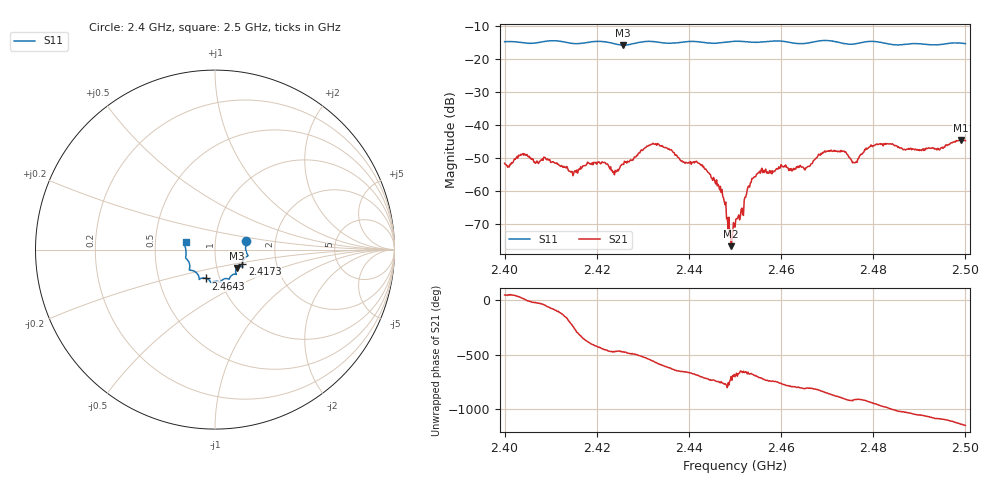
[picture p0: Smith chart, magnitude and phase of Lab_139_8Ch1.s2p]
# Hz S RI R 50
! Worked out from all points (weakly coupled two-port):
!   601 points, 2.4 GHz to 2.5 GHz, reference 50 ohm
!   highest |S21| = -44.58 dB at 2.499 GHz (marker M1); lowest = -76.7 dB at 2.4492 GHz (marker M2)
!   lowest |S11| = -15.9 dB at 2.4257 GHz (marker M3), VSWR 1.38, Z = 62.5 - j13.1 ohm
!   |S11| at or under -10 dB: start of sweep to end of sweep
!   S12 and S22 are empty: the file has one direction only
!   S11 on the Smith chart (normalised r, x): 2.4 GHz: 1.41, +0.14; 2.4173 GHz: 1.34, -0.23; 2.4643 GHz: 0.86, -0.28; 2.5 GHz: 0.72, +0.06
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2.4e9  0.1736 0.0492  0.00175 0.00195  0 0  0 0
2.404e9  0.172 0.0249  0.00353 0.00102  0 0  0 0
2.416667e9  0.1531 -0.0747  0.00198 0.000894  0 0  0 0
2.417333e9  0.1524 -0.0821  0.00241 1e-06  0 0  0 0
2.423833e9  0.1383 -0.0943  -0.000648 -0.00163  0 0  0 0
2.425667e9  0.1229 -0.1024  -0.000964 -0.00234  0 0  0 0
2.433333e9  0.1128 -0.1367  -0.00384 0.00341  0 0  0 0
2.444167e9  0.062 -0.1608  0.0019 -2.81e-05  0 0  0 0
2.447e9  0.0403 -0.1691  0.000857 -0.000403  0 0  0 0
2.449167e9  0.0315 -0.1786  0.000136 5.36e-05  0 0  0 0
2.45e9  0.0292 -0.1808  0.000267 9.18e-05  0 0  0 0
2.453167e9  0.0163 -0.1774  0.000839 0.000775  0 0  0 0
2.455333e9  -0.00098 -0.177  0.00194 0.000395  0 0  0 0
2.464333e9  -0.0499 -0.1607  0.000317 -0.00229  0 0  0 0
2.466667e9  -0.0759 -0.1596  0.000173 -0.00258  0 0  0 0
2.4705e9  -0.0873 -0.1652  -0.00288 -0.0027  0 0  0 0
2.476e9  -0.1161 -0.1198  -0.00262 0.000431  0 0  0 0
2.479e9  -0.1408 -0.1151  -0.00397 0.00218  0 0  0 0
2.483333e9  -0.1405 -0.0897  -0.000122 0.00511  0 0  0 0
2.490167e9  -0.1626 -0.04  0.00358 0.00216  0 0  0 0
2.499e9  -0.1683 0.0369  0.00345 -0.00479  0 0  0 0
2.5e9  -0.1634 0.0422  0.00226 -0.00529  0 0  0 0
